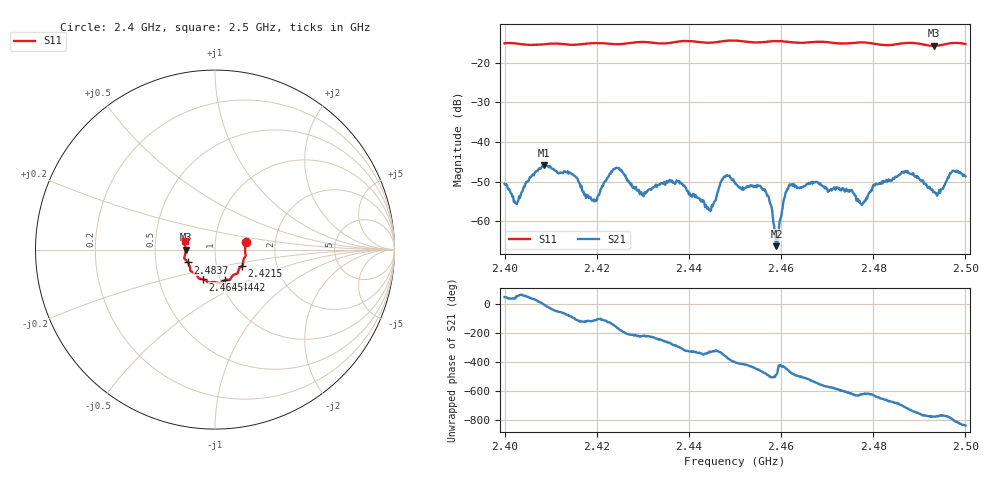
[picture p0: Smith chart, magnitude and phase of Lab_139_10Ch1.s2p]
# Hz S RI R 50
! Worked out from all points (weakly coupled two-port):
!   601 points, 2.4 GHz to 2.5 GHz, reference 50 ohm
!   highest |S21| = -45.87 dB at 2.4085 GHz (marker M1); lowest = -66.3 dB at 2.459 GHz (marker M2)
!   lowest |S11| = -15.7 dB at 2.4932 GHz (marker M3), VSWR 1.39, Z = 35.9 - j0.0699 ohm
!   |S11| at or under -10 dB: start of sweep to end of sweep
!   S12 and S22 are empty: the file has one direction only
!   S11 on the Smith chart (normalised r, x): 2.4 GHz: 1.41, +0.12; 2.4215 GHz: 1.33, -0.25; 2.4442 GHz: 1.05, -0.37; 2.4645 GHz: 0.83, -0.29; 2.4837 GHz: 0.73, -0.11; 2.5 GHz: 0.71, +0.07
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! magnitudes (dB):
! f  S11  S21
! 2.4 GHz  -15.1  -50.6
! 2.4025 GHz  -15.1  -55.5
! 2.4085 GHz  -15.4  -45.9
! 2.4167 GHz  -15.3  -51.1
! 2.4195 GHz  -15.0  -55.0
! 2.4215 GHz  -15.1  -50.3
! 2.4243 GHz  -15.3  -46.5
! 2.4298 GHz  -14.8  -53.3
! 2.4333 GHz  -15.1  -50.8
! 2.4442 GHz  -15.0  -56.6
! 2.4477 GHz  -14.5  -48.7
! 2.45 GHz  -14.4  -50.2
! 2.4567 GHz  -14.7  -52.5
! 2.459 GHz  -14.5  -66.3
! 2.4615 GHz  -14.7  -51.9
! 2.4645 GHz  -15.0  -51.4
! 2.4667 GHz  -14.8  -50.1
! 2.4777 GHz  -14.9  -55.7
! 2.4833 GHz  -15.6  -49.4
! 2.4837 GHz  -15.5  -49.8
! 2.4932 GHz  -15.7  -52.5
! 2.5 GHz  -15.3  -48.7
